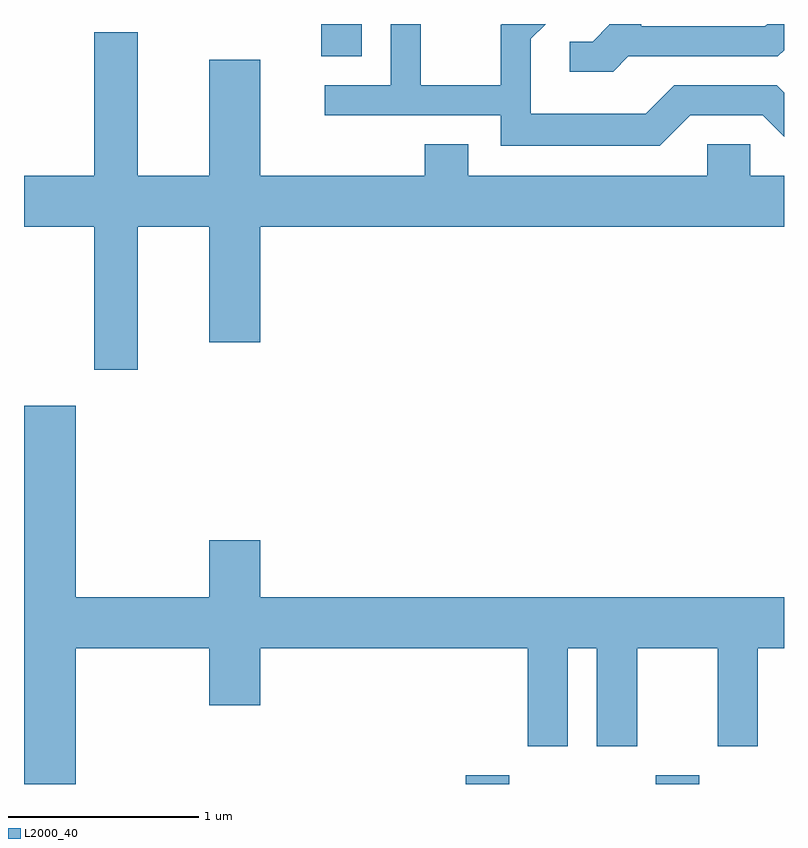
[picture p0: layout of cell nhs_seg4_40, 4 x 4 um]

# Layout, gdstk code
import gdstk
lib = gdstk.Library(unit=1e-6, precision=1e-09)
def R(c, l, rs):  # rectangles x0, y0, x1, y1
    for r in rs: c.add(gdstk.rectangle(r[:2], r[2:], *l))
def P(c, l, *ps):  # polygons
    for p in ps: c.add(gdstk.Polygon(p, *l))
L2000_40 = (2000, 40)

nhs_seg4_40 = lib.new_cell('nhs_seg4_40')
R(nhs_seg4_40, L2000_40, [(187.936,1333.982,188.164,1334.029), (188.936,1333.982,189.164,1334.029), (187.176,1337.811,187.389,1337.982)])
P(nhs_seg4_40, L2000_40, [(189.117,1337.501),(189.499,1337.501),(189.611,1337.389),(189.611,1337.62),(189.572,1337.659),(189.034,1337.659),(188.884,1337.509),(188.279,1337.509),(188.279,1337.904),(188.357,1337.982),(188.126,1337.982),(188.121,1337.977),(188.121,1337.659),(187.699,1337.659),(187.699,1337.982),(187.541,1337.982),(187.541,1337.659),(187.193,1337.659),(187.193,1337.501),(188.121,1337.501),(188.121,1337.341),(188.957,1337.341)],
  [(188.792,1337.811),(189.577,1337.811),(189.611,1337.845),(189.611,1337.982),(189.522,1337.982),(189.509,1337.969),(188.859,1337.969),(188.859,1337.982),(188.691,1337.982),(188.691,1337.977),(188.604,1337.889),(188.483,1337.889),(188.483,1337.731),(188.712,1337.731)],
  [(186.209,1336.916),(186.586,1336.916),(186.586,1336.306),(186.854,1336.306),(186.854,1336.916),(189.611,1336.916),(189.611,1337.184),(189.434,1337.184),(189.434,1337.349),(189.206,1337.349),(189.206,1337.184),(187.949,1337.184),(187.949,1337.349),(187.721,1337.349),(187.721,1337.184),(186.854,1337.184),(186.854,1337.794),(186.586,1337.794),(186.586,1337.184),(186.209,1337.184),(186.209,1337.939),(185.981,1337.939),(185.981,1337.184),(185.611,1337.184),(185.611,1336.916),(185.981,1336.916),(185.981,1336.161),(186.209,1336.161)],
  [(185.884,1334.696),(186.586,1334.696),(186.586,1334.396),(186.854,1334.396),(186.854,1334.696),(188.261,1334.696),(188.261,1334.181),(188.474,1334.181),(188.474,1334.696),(188.626,1334.696),(188.626,1334.181),(188.839,1334.181),(188.839,1334.696),(189.261,1334.696),(189.261,1334.181),(189.474,1334.181),(189.474,1334.696),(189.611,1334.696),(189.611,1334.964),(186.854,1334.964),(186.854,1335.264),(186.586,1335.264),(186.586,1334.964),(185.884,1334.964),(185.884,1335.974),(185.611,1335.974),(185.611,1333.982),(185.884,1333.982)])

lib.write_gds('nhs_seg4_40.gds')
